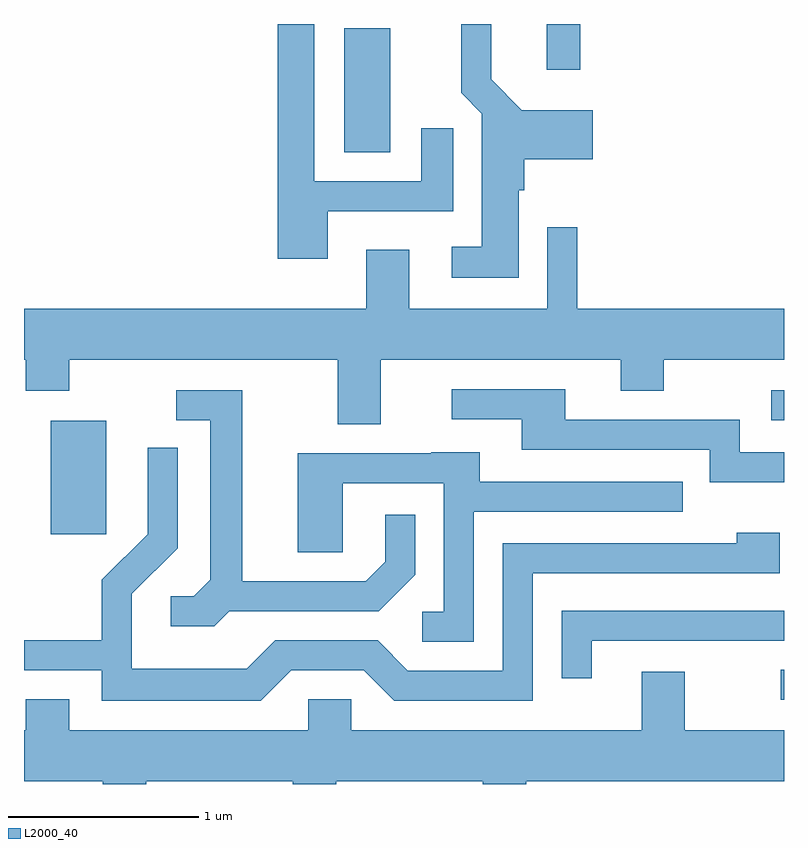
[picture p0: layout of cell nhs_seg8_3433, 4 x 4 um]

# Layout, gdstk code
import gdstk
lib = gdstk.Library(unit=1e-6, precision=1e-09)
def R(c, l, rs):  # rectangles x0, y0, x1, y1
    for r in rs: c.add(gdstk.rectangle(r[:2], r[2:], *l))
def P(c, l, *ps):  # polygons
    for p in ps: c.add(gdstk.Polygon(p, *l))
L2000_40 = (2000, 40)

nhs_seg8_3433 = lib.new_cell('nhs_seg8_3433')
R(nhs_seg8_3433, L2000_40, [(291.593,1896.786,291.611,1896.944), (287.751,1897.656,288.044,1898.254), (291.543,1898.256,291.611,1898.414), (289.296,1899.666,289.539,1900.319), (290.361,1900.101,290.539,1900.342)])
P(nhs_seg8_3433, L2000_40, [(290.214,1899.466),(290.244,1899.466),(290.244,1899.631),(290.604,1899.631),(290.604,1899.889),(290.232,1899.889),(290.069,1900.052),(290.069,1900.342),(289.911,1900.342),(289.911,1899.979),(290.021,1899.869),(290.021,1899.169),(289.863,1899.169),(289.863,1899.006),(290.214,1899.006)],
  [(289.209,1899.356),(289.869,1899.356),(289.869,1899.793),(289.701,1899.793),(289.701,1899.514),(289.139,1899.514),(289.139,1900.342),(288.946,1900.342),(288.946,1899.106),(289.209,1899.106)],
  [(287.611,1898.576),(287.621,1898.576),(287.621,1898.411),(287.849,1898.411),(287.849,1898.576),(289.261,1898.576),(289.261,1898.236),(289.489,1898.236),(289.489,1898.576),(290.751,1898.576),(290.751,1898.411),(290.979,1898.411),(290.979,1898.576),(291.611,1898.576),(291.611,1898.844),(290.524,1898.844),(290.524,1899.273),(290.366,1899.273),(290.366,1898.844),(289.639,1898.844),(289.639,1899.154),(289.411,1899.154),(289.411,1898.844),(287.611,1898.844)],
  [(291.611,1898.089),(291.379,1898.089),(291.379,1898.259),(290.459,1898.259),(290.459,1898.419),(289.863,1898.419),(289.863,1898.261),(290.231,1898.261),(290.231,1898.101),(291.221,1898.101),(291.221,1897.931),(291.611,1897.931)],
  [(288.692,1897.251),(289.477,1897.251),(289.669,1897.444),(289.669,1897.758),(289.511,1897.758),(289.511,1897.512),(289.409,1897.409),(288.759,1897.409),(288.759,1898.414),(288.413,1898.414),(288.413,1898.256),(288.591,1898.256),(288.591,1897.417),(288.504,1897.329),(288.383,1897.329),(288.383,1897.171),(288.612,1897.171)],
  [(289.017,1896.941),(289.399,1896.941),(289.559,1896.781),(290.289,1896.781),(290.289,1897.451),(291.589,1897.451),(291.589,1897.664),(291.361,1897.664),(291.361,1897.609),(290.131,1897.609),(290.131,1896.939),(289.632,1896.939),(289.472,1897.099),(288.934,1897.099),(288.784,1896.949),(288.179,1896.949),(288.179,1897.344),(288.419,1897.584),(288.419,1898.113),(288.261,1898.113),(288.261,1897.657),(288.021,1897.417),(288.021,1897.099),(287.611,1897.099),(287.611,1896.941),(288.021,1896.941),(288.021,1896.781),(288.857,1896.781)],
  [(289.979,1897.776),(291.078,1897.776),(291.078,1897.934),(290.009,1897.934),(290.009,1898.089),(289.755,1898.089),(289.755,1898.084),(289.051,1898.084),(289.051,1897.561),(289.289,1897.561),(289.289,1897.926),(289.821,1897.926),(289.821,1897.249),(289.708,1897.249),(289.708,1897.091),(289.979,1897.091)],
  [(290.599,1897.096),(291.611,1897.096),(291.611,1897.254),(290.441,1897.254),(290.441,1896.898),(290.599,1896.898)],
  [(287.849,1896.789),(287.621,1896.789),(287.621,1896.624),(287.611,1896.624),(287.611,1896.356),(288.026,1896.356),(288.026,1896.342),(288.254,1896.342),(288.254,1896.356),(289.026,1896.356),(289.026,1896.342),(289.254,1896.342),(289.254,1896.356),(290.026,1896.356),(290.026,1896.342),(290.254,1896.342),(290.254,1896.356),(291.611,1896.356),(291.611,1896.624),(291.089,1896.624),(291.089,1896.934),(290.861,1896.934),(290.861,1896.624),(289.334,1896.624),(289.334,1896.789),(289.106,1896.789),(289.106,1896.624),(287.849,1896.624)])

lib.write_gds('nhs_seg8_3433.gds')
